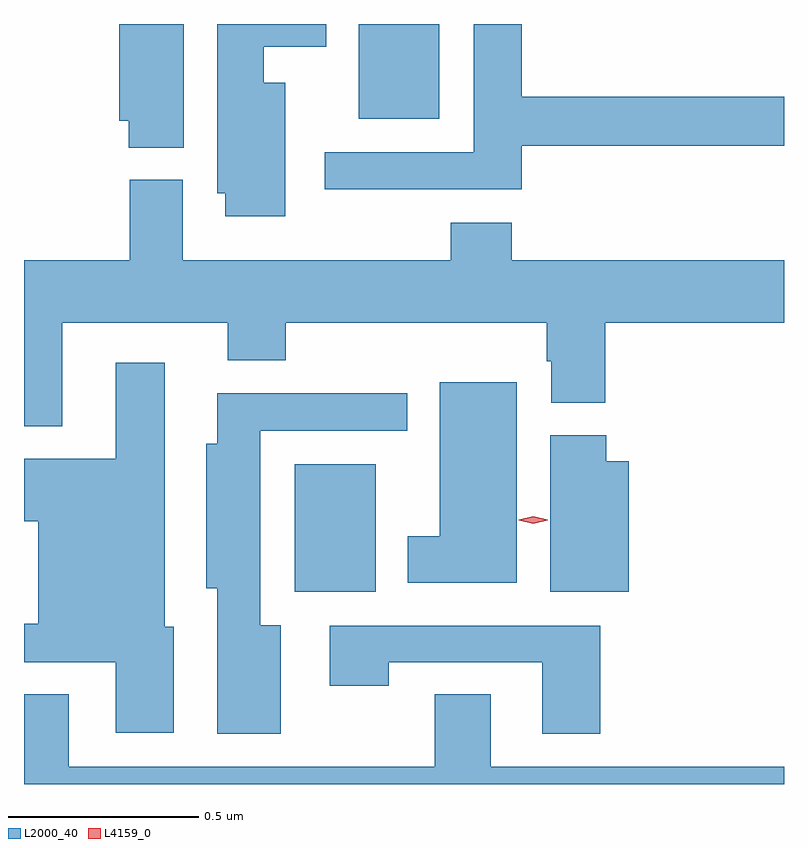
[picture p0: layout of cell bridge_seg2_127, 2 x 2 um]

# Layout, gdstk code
import gdstk
lib = gdstk.Library(unit=1e-6, precision=1e-09)
def R(c, l, rs):  # rectangles x0, y0, x1, y1
    for r in rs: c.add(gdstk.rectangle(r[:2], r[2:], *l))
def P(c, l, *ps):  # polygons
    for p in ps: c.add(gdstk.Polygon(p, *l))
L2000_40 = (2000, 40)
L4159_0 = (4159, 0)

bridge_seg2_127 = lib.new_cell('bridge_seg2_127')
R(bridge_seg2_127, L2000_40, [(409.544,628.28,409.756,628.615), (409.712,629.525,409.924,629.774)])
P(bridge_seg2_127, L2000_40, [(410.141,629.454),(410.831,629.454),(410.831,629.582),(410.141,629.582),(410.141,629.774),(410.015,629.774),(410.015,629.436),(409.623,629.436),(409.623,629.339),(410.141,629.339)],
  [(409.252,629.774),(409.082,629.774),(409.082,629.52),(409.106,629.52),(409.106,629.449),(409.252,629.449)],
  [(409.519,629.62),(409.462,629.62),(409.462,629.714),(409.627,629.714),(409.627,629.774),(409.34,629.774),(409.34,629.328),(409.361,629.328),(409.361,629.268),(409.519,629.268)],
  [(408.931,628.988),(409.367,628.988),(409.367,628.889),(409.52,628.889),(409.52,628.988),(410.207,628.988),(410.207,628.887),(410.219,628.887),(410.219,628.777),(410.36,628.777),(410.36,628.988),(410.831,628.988),(410.831,629.152),(410.114,629.152),(410.114,629.251),(409.954,629.251),(409.954,629.152),(409.249,629.152),(409.249,629.364),(409.109,629.364),(409.109,629.152),(408.831,629.152),(408.831,628.715),(408.931,628.715)],
  [(409.225,628.188),(409.201,628.188),(409.201,628.882),(409.073,628.882),(409.073,628.63),(408.831,628.63),(408.831,628.466),(408.869,628.466),(408.869,628.196),(408.831,628.196),(408.831,628.095),(409.073,628.095),(409.073,627.909),(409.225,627.909)],
  [(410.128,628.831),(409.925,628.831),(409.925,628.426),(409.841,628.426),(409.841,628.304),(410.128,628.304)],
  [(409.507,628.192),(409.453,628.192),(409.453,628.704),(409.84,628.704),(409.84,628.802),(409.34,628.802),(409.34,628.669),(409.31,628.669),(409.31,628.289),(409.34,628.289),(409.34,627.906),(409.507,627.906)],
  [(410.422,628.624),(410.363,628.624),(410.363,628.692),(410.216,628.692),(410.216,628.28),(410.422,628.28)],
  [(410.348,628.191),(409.635,628.191),(409.635,628.032),(409.791,628.032),(409.791,628.095),(410.195,628.095),(410.195,627.906),(410.348,627.906)],
  [(410.831,627.82),(410.059,627.82),(410.059,628.01),(409.912,628.01),(409.912,627.82),(408.949,627.82),(408.949,628.01),(408.831,628.01),(408.831,627.774),(410.831,627.774)])
P(bridge_seg2_127, L4159_0, [(410.171,628.459),(410.133,628.468),(410.133,628.469),(410.133,628.469),(410.171,628.479),(410.209,628.469),(410.209,628.468),(410.209,628.468)])

lib.write_gds('bridge_seg2_127.gds')
